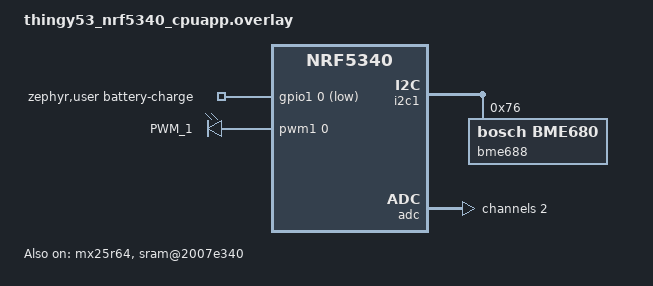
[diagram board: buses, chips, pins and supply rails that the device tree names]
/*
 * Copyright (c) 2026 Nordic Semiconductor ASA
 *
 * SPDX-License-Identifier: LicenseRef-Nordic-5-Clause
 */

#include <zephyr/dt-bindings/ipc_service/static_vrings.h>

/ {
	zephyr,user {
		battery-charge-gpios = <&gpio1 0 (GPIO_PULL_UP | GPIO_ACTIVE_LOW)>;
	};

	pwmbuzzer {
		compatible = "pwm-leds";
		status = "okay";

		buzzer: buzzer_pwm {
			pwms = <&pwm1 0 PWM_HZ(100) PWM_POLARITY_NORMAL>;
			label = "PWM_1";
		};
	};

	aliases {
		buzzer-pwm = &buzzer;
	};

	sram@2007e340 {
		compatible = "zephyr,memory-region", "mmio-sram";
		reg = <0x2007e340 0x1cc0>;
		zephyr,memory-region = "DiagnosticLogMem";
		status = "okay";

		retainedmem {
			compatible = "zephyr,retained-ram";
			status = "okay";
			#address-cells = <1>;
			#size-cells = <1>;

			/* Reserve 192 B for the crash logs. */
			crash_retention: retention@0 {
				compatible = "zephyr,retention";
				status = "okay";
				reg = <0x0 0xc0>;
				prefix = [08 04];
				checksum = <2>;
			};

			/* Reserve 6 kB for the network logs. */
			network_logs_retention: retention@c0 {
				compatible = "zephyr,retention";
				status = "okay";
				reg = <0xc0 0x1800>;
				prefix = [06 03];
				checksum = <2>;
			};

			/* Reserve 1 kB for the end user logs. */
			end_user_logs_retention: retention@18c0 {
				compatible = "zephyr,retention";
				status = "okay";
				reg = <0x18c0 0x400>;
				prefix = [05 02];
				checksum = <2>;
			};
		};
	};
};

/* Set IPC thread priority to the highest value to not collide with other threads. */
&ipc0 {
	zephyr,priority = <0 PRIO_COOP>;
};

/delete-node/ &boot_partition;
/delete-node/ &slot0_partition;
/delete-node/ &slot1_partition;
/delete-node/ &storage_partition;

&flash0 {
	partitions {
		ranges;
		#address-cells = <1>;
		#size-cells = <1>;

		boot_partition: partition@0 {
			compatible = "zephyr,mapped-partition";
			label = "mcuboot";
			reg = <0x00000000 DT_SIZE_K(64)>;
		};

		slot0_partition: partition@10000 {
			compatible = "zephyr,mapped-partition";
			label = "image-0";
			reg = <0x00010000 DT_SIZE_K(896)>;
		};

		factory_data_partition: partition@f0000 {
			compatible = "zephyr,mapped-partition";
			label = "factory-data";
			reg = <0x000f0000 DT_SIZE_K(16)>;
		};

		storage_partition: partition@f4000 {
			compatible = "zephyr,mapped-partition";
			label = "storage";
			reg = <0x000f4000 DT_SIZE_K(48)>;
		};
	};
};

&mx25r64 {
	status = "okay";

	partitions {
		compatible = "fixed-partitions";
		#address-cells = <1>;
		#size-cells = <1>;

		slot1_partition: partition@0 {
			label = "image-1";
			reg = <0x00000000 DT_SIZE_K(896)>;
		};

		slot3_partition: partition@e0000 {
			label = "image-3";
			reg = <0xe0000 DT_SIZE_K(224)>;
		};
	};
};

&i2c1 {
	bme688@76 {
		compatible = "bosch,bme680";
		reg = <0x76>;
	};
};

&adc {
	#address-cells = <1>;
	#size-cells = <0>;

	channel@2 {
		reg = <2>;
		zephyr,gain = "ADC_GAIN_1";
		zephyr,reference = "ADC_REF_INTERNAL";
		zephyr,acquisition-time = <ADC_ACQ_TIME(ADC_ACQ_TIME_MICROSECONDS, 40)>;
		zephyr,input-positive = <NRF_SAADC_AIN2>;
		zephyr,resolution = <12>;
		zephyr,oversampling = <4>;
	};
};

/* Disable unused peripherals to reduce power consumption */
&pwm0 {
	status = "disabled";
};

&pwm2 {
	status = "disabled";
};

/* Reduce SRAM0 usage by 7360 B to account for non-init area */
&sram0 {
	reg = <0x20000000 0x7e340>;
};
